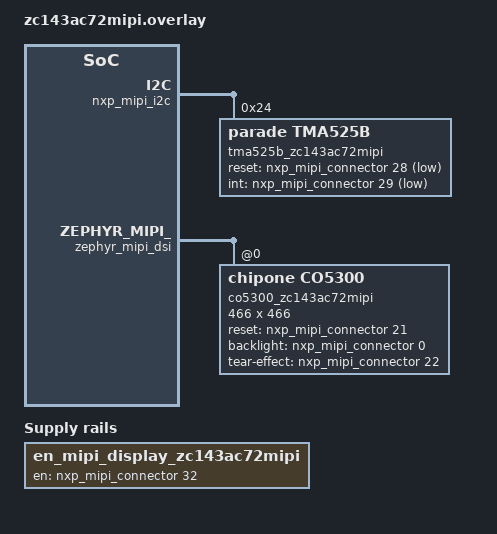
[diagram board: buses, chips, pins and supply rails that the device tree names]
/*
 * Copyright 2025 NXP
 *
 * SPDX-License-Identifier: Apache-2.0
 */

/ {
	chosen {
		zephyr,display = &co5300_zc143ac72mipi;
		zephyr,touch = &tma525b_zc143ac72mipi;
	};

	en_mipi_display_zc143ac72mipi: enable-mipi-display {
		compatible = "regulator-fixed";
		regulator-name = "en_mipi_display";
		enable-gpios = <&nxp_mipi_connector 32 GPIO_ACTIVE_HIGH>;
		regulator-boot-on;
	};
};

&nxp_mipi_i2c {
	status = "okay";

	tma525b_zc143ac72mipi: tma525b@24 {
		compatible = "parade,tma525b";
		reg = <0x24>;
		reset-gpios = <&nxp_mipi_connector 28 GPIO_ACTIVE_LOW>;
		int-gpios = <&nxp_mipi_connector 29 GPIO_ACTIVE_LOW>;
		inverted-y;
		inverted-x;
		screen-width = <466>;
		screen-height = <466>;
	};
};

&zephyr_mipi_dsi {
	status = "okay";
	autoinsert-eotp;
	phy-clock = <319488000>;

	co5300_zc143ac72mipi: co5300@0 {
		status = "okay";
		compatible = "chipone,co5300";
		reg = <0x0>;
		reset-gpios = <&nxp_mipi_connector 21 GPIO_ACTIVE_HIGH>;
		backlight-gpios = <&nxp_mipi_connector 0 GPIO_ACTIVE_HIGH>;
		tear-effect-gpios = <&nxp_mipi_connector 22 GPIO_ACTIVE_HIGH>;
		data-lanes = <1>;
		width = <466>;
		height = <466>;
		pixel-format = <MIPI_DSI_PIXFMT_RGB565>;
	};
};
